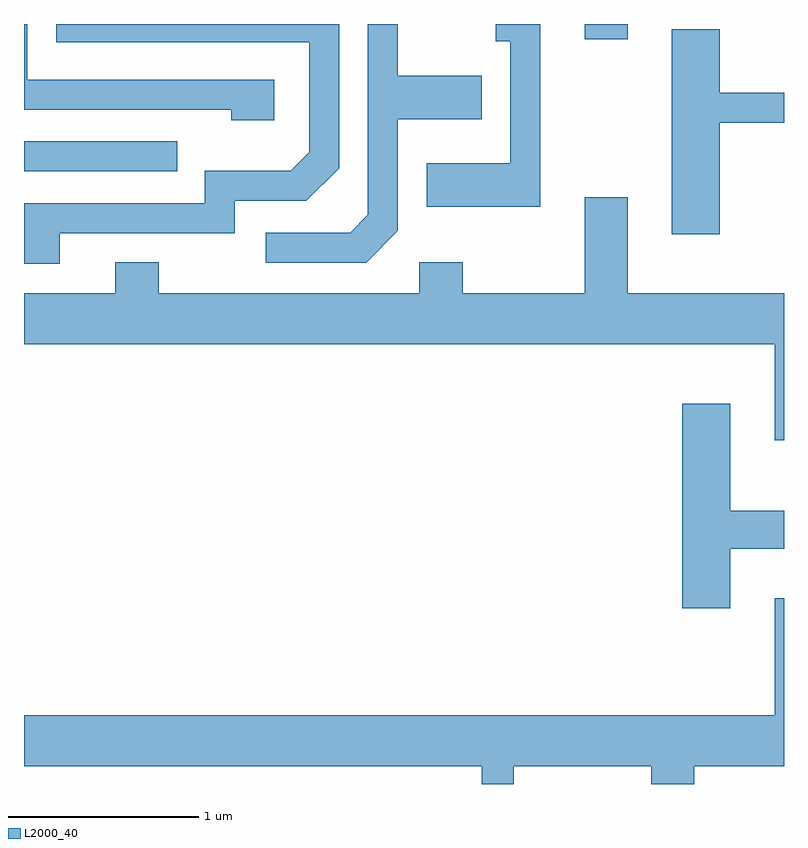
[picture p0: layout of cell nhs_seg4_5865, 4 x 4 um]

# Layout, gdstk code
import gdstk
lib = gdstk.Library(unit=1e-6, precision=1e-09)
def R(c, l, rs):  # rectangles x0, y0, x1, y1
    for r in rs: c.add(gdstk.rectangle(r[:2], r[2:], *l))
def P(c, l, *ps):  # polygons
    for p in ps: c.add(gdstk.Polygon(p, *l))
L2000_40 = (2000, 40)

nhs_seg4_5865 = lib.new_cell('nhs_seg4_5865')
R(nhs_seg4_5865, L2000_40, [(357.611,1291.206,358.418,1291.364), (360.561,1291.901,360.789,1291.982)])
P(nhs_seg4_5865, L2000_40, [(360.329,1291.982),(360.093,1291.982),(360.093,1291.891),(360.171,1291.891),(360.171,1291.249),(359.731,1291.249),(359.731,1291.021),(360.329,1291.021)],
  [(359.579,1290.894),(359.579,1291.481),(360.019,1291.481),(360.019,1291.709),(359.579,1291.709),(359.579,1291.982),(359.421,1291.982),(359.421,1290.977),(359.329,1290.884),(358.883,1290.884),(358.883,1290.726),(359.412,1290.726)],
  [(357.799,1290.881),(358.719,1290.881),(358.719,1291.051),(359.097,1291.051),(359.269,1291.224),(359.269,1291.982),(357.781,1291.982),(357.781,1291.886),(359.111,1291.886),(359.111,1291.307),(359.014,1291.209),(358.561,1291.209),(358.561,1291.039),(357.611,1291.039),(357.611,1290.721),(357.799,1290.721)],
  [(358.929,1291.689),(357.629,1291.689),(357.629,1291.982),(357.611,1291.982),(357.611,1291.531),(358.701,1291.531),(358.701,1291.476),(358.929,1291.476)],
  [(361.274,1291.461),(361.611,1291.461),(361.611,1291.619),(361.274,1291.619),(361.274,1291.954),(361.021,1291.954),(361.021,1290.876),(361.274,1290.876)],
  [(361.611,1290.564),(360.789,1290.564),(360.789,1291.069),(360.561,1291.069),(360.561,1290.564),(359.919,1290.564),(359.919,1290.729),(359.691,1290.729),(359.691,1290.564),(358.319,1290.564),(358.319,1290.729),(358.091,1290.729),(358.091,1290.564),(357.611,1290.564),(357.611,1290.296),(361.561,1290.296),(361.561,1289.791),(361.611,1289.791)],
  [(361.329,1289.221),(361.611,1289.221),(361.611,1289.419),(361.329,1289.419),(361.329,1289.984),(361.076,1289.984),(361.076,1288.906),(361.329,1288.906)],
  [(360.189,1288.076),(360.911,1288.076),(360.911,1287.982),(361.139,1287.982),(361.139,1288.076),(361.611,1288.076),(361.611,1288.959),(361.561,1288.959),(361.561,1288.344),(357.611,1288.344),(357.611,1288.076),(360.021,1288.076),(360.021,1287.982),(360.189,1287.982)])

lib.write_gds('nhs_seg4_5865.gds')
